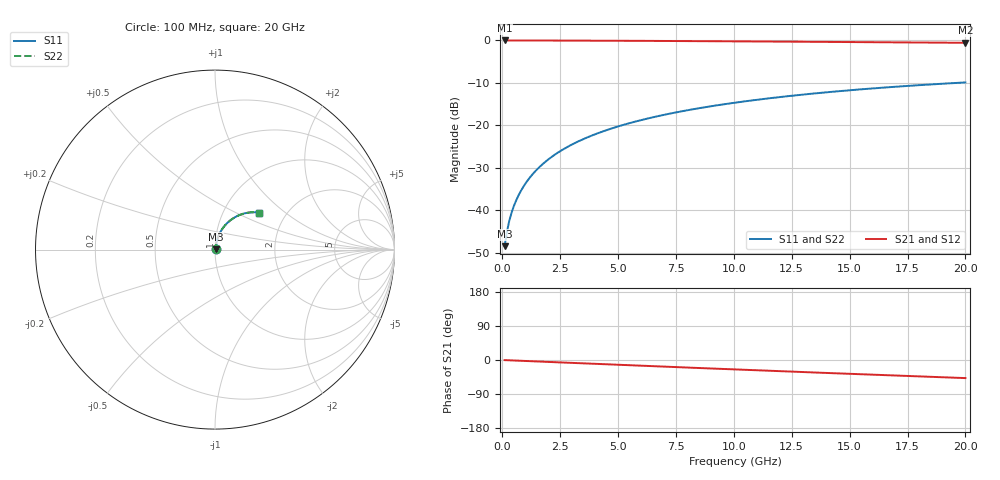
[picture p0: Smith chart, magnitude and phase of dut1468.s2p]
! Touchstone file exported from HFSS 2026.1.0
!  File:  C:/ffzhzh/LocalFiles/Ansys_Project_Files/temp_train_BSMRDL_1468_1783181055_18472.aedt
!  Generated:  12:05:25 AM Jul  5, 2026
!  Design:  BSMRDL
!  Project:  temp_train_BSMRDL_1468_1783181055_18472
! Variables:
!  h_bsmrdl = 3.42um
!  h_ox = 20um
!  h_rdl = 5um
!  h_sub = 80um
!  h_tmrdl = 5um
!  h_tsv = 80um
!  h_via = 3um
!  l_bsmrdl = 761.14um
!  l_sub = 1161.14um
!  l_tmrdl = 200um
!  m_sub = 200um
!  pitch = 48.71um
!  r_tsv = 6um
!  s_tmrdl = 10um
!  w_bsmrdl = 29.71um
!  w_sub = 500um
!  w_tmrdl = 12um
!  x_tsv_center1 = 206um
!  x_tsv_center2 = 996.85um
!  x_tsv_center3 = 1208.85um
!  x_tsv_center4 = 1999.7um
!  x_tsv_center5 = 2211.7um
!  x_tsv_center6 = 3002.55um
# GHz S MA R 50.000000
! Terminal data exported
! Port[1] = BSM_RDL1_1_T1
! Port[2] = BSM_RDL1_1_T2
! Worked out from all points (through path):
!   200 points, 100 MHz to 20 GHz, reference 50 ohm
!   highest |S21| = -0.03 dB at 100 MHz (marker M1); lowest = -0.6 dB at 20 GHz (marker M2)
!   group delay of S21, straight-line fit = 6.63 ps
!   lowest |S11| = -48.5 dB at 100 MHz (marker M3), VSWR 1.01, Z = 50.3 + j0.235 ohm
!   |S11| at or under -10 dB: start of sweep to 19.7 GHz
!   |S22| runs from -48.5 to -9.9 dB; largest |S21 - S12| = 2.7e-15
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0.1  0.003772 38.3  0.997 -0.3  0.997 -0.3  0.003772 38.3
! Gamma 0 0 0 0
! Port Impedance 50 0 50 0
0.2  0.005568 54.5  0.9968 -0.5  0.9968 -0.5  0.005568 54.5
0.3  0.007466 61.7  0.9965 -0.8  0.9965 -0.8  0.007466 61.7
0.4  0.009342 65.9  0.9963 -1.1  0.9963 -1.1  0.009342 65.9
0.5  0.0112 68.9  0.9962 -1.3  0.9962 -1.3  0.0112 68.9
0.6  0.01306 71.0  0.996 -1.6  0.996 -1.6  0.01307 71.0
0.8  0.01682 73.9  0.9959 -2.1  0.9959 -2.1  0.01682 73.9
1.1  0.02252 76.4  0.9956 -2.8  0.9956 -2.8  0.02252 76.4
1.3  0.02636 77.3  0.9954 -3.3  0.9954 -3.3  0.02636 77.3
1.6  0.03215 78.0  0.9952 -4.1  0.9952 -4.1  0.03215 78.0
2.1  0.04182 78.3  0.9946 -5.3  0.9946 -5.3  0.04182 78.4
2.7  0.05341 77.9  0.9938 -6.9  0.9938 -6.9  0.05341 77.9
3.5  0.06873 76.7  0.9924 -8.9  0.9924 -8.9  0.06873 76.7
4.2  0.08198 75.4  0.991 -10.6  0.991 -10.6  0.08198 75.4
5  0.0969 73.7  0.9891 -12.6  0.9891 -12.6  0.0969 73.7
5.9  0.1134 71.8  0.9868 -14.8  0.9868 -14.8  0.1134 71.8
6.8  0.1295 69.7  0.9842 -17.0  0.9842 -17.0  0.1295 69.7
8.3  0.1555 66.3  0.9796 -20.7  0.9796 -20.7  0.1555 66.3
10.1  0.1854 62.2  0.9735 -25.0  0.9735 -25.0  0.1854 62.2
13.4  0.2359 54.7  0.9612 -32.8  0.9612 -32.8  0.2359 54.7
16.7  0.2808 47.4  0.9484 -40.4  0.9484 -40.4  0.2808 47.4
20  0.3194 40.2  0.9356 -47.7  0.9356 -47.7  0.3195 40.2
